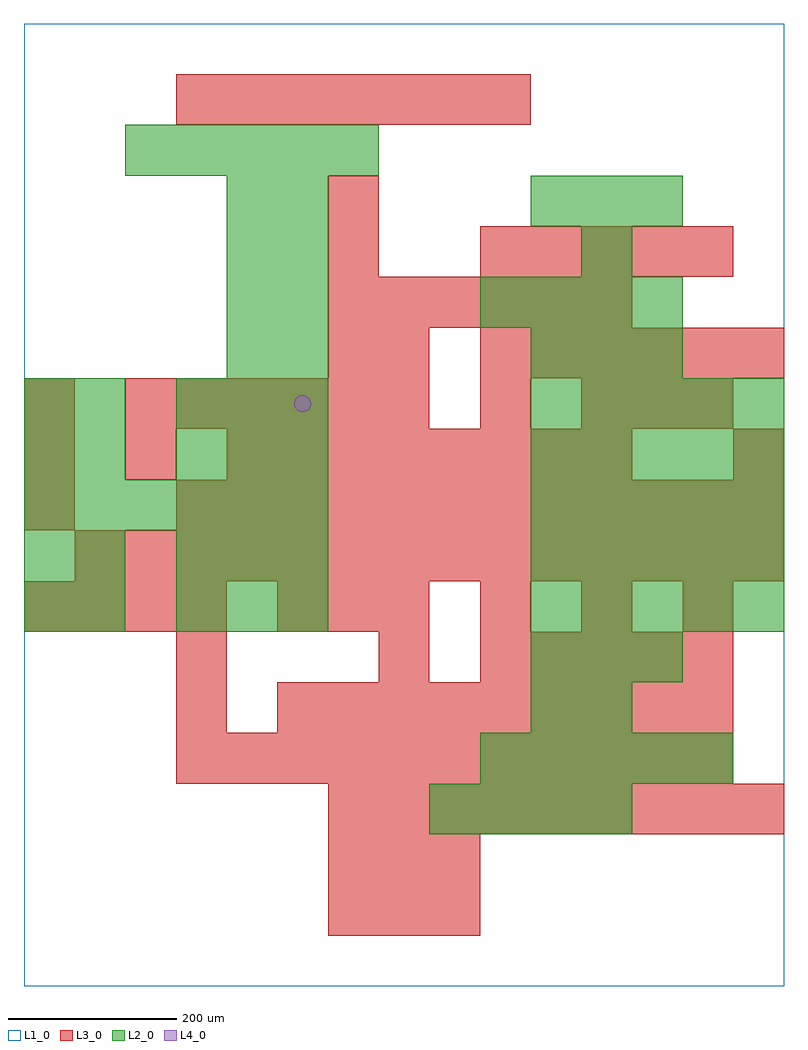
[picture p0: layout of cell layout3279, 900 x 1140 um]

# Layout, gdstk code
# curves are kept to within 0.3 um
import gdstk
lib = gdstk.Library(unit=1e-6, precision=1e-09)
def R(c, l, rs):  # rectangles x0, y0, x1, y1
    for r in rs: c.add(gdstk.rectangle(r[:2], r[2:], *l))
def A(c, l, x, y, w, h, nx, ny, dx, dy):  # array of equal rectangles
    R(c, l, [(x+i*dx, y+j*dy, x+i*dx+w, y+j*dy+h) for i in range(nx) for j in range(ny)])
def P(c, l, *ps):  # polygons
    for p in ps: c.add(gdstk.Polygon(p, *l))
L1_0 = (1, 0)
L2_0 = (2, 0)
L3_0 = (3, 0)
L4_0 = (4, 0)

layout3279 = lib.new_cell('layout3279')
R(layout3279, L1_0, [(0,0,900,1140)])
A(layout3279, L2_0, 480, 180, 60, 60, 4, 1, 60, 0)
A(layout3279, L2_0, 540, 240, 60, 60, 5, 1, 60, 0)
A(layout3279, L2_0, 600, 360, 60, 60, 3, 2, 60, 360)
A(layout3279, L2_0, 180, 420, 60, 60, 3, 2, 60, 60)
A(layout3279, L2_0, 600, 420, 60, 60, 5, 5, 60, 60)
A(layout3279, L2_0, 0, 540, 60, 60, 6, 1, 60, 0)
A(layout3279, L2_0, 180, 600, 60, 60, 3, 2, 60, 60)
A(layout3279, L2_0, 240, 720, 60, 60, 1, 4, 0, 60)
A(layout3279, L2_0, 300, 720, 60, 60, 1, 4, 0, 60)
A(layout3279, L2_0, 540, 780, 60, 60, 4, 1, 60, 0)
A(layout3279, L2_0, 600, 900, 60, 60, 3, 1, 60, 0)
A(layout3279, L2_0, 120, 960, 60, 60, 5, 1, 60, 0)
R(layout3279, L2_0, [(600,300,660,360), (660,300,720,360), (0,420,60,480), (60,420,120,480), (0,480,60,540), (60,480,120,540), (0,600,60,660), (60,600,120,660), (0,660,60,720), (60,660,120,720), (660,840,720,900)])
A(layout3279, L3_0, 360, 60, 60, 60, 3, 2, 60, 60)
A(layout3279, L3_0, 360, 180, 60, 60, 9, 1, 60, 0)
A(layout3279, L3_0, 180, 240, 60, 60, 11, 1, 60, 0)
A(layout3279, L3_0, 300, 300, 60, 60, 9, 1, 60, 0)
A(layout3279, L3_0, 540, 360, 60, 60, 5, 2, 60, 480)
A(layout3279, L3_0, 0, 420, 60, 60, 4, 1, 60, 0)
A(layout3279, L3_0, 300, 420, 60, 60, 3, 1, 60, 0)
A(layout3279, L3_0, 540, 420, 60, 60, 3, 1, 120, 0)
A(layout3279, L3_0, 60, 480, 60, 60, 14, 1, 60, 0)
A(layout3279, L3_0, 180, 540, 60, 60, 12, 1, 60, 0)
A(layout3279, L3_0, 0, 600, 60, 60, 3, 1, 120, 0)
A(layout3279, L3_0, 300, 600, 60, 60, 7, 1, 60, 0)
A(layout3279, L3_0, 120, 660, 60, 60, 6, 1, 60, 0)
A(layout3279, L3_0, 660, 660, 60, 60, 3, 1, 60, 0)
A(layout3279, L3_0, 540, 720, 60, 60, 6, 1, 60, 0)
A(layout3279, L3_0, 360, 780, 60, 60, 6, 1, 60, 0)
A(layout3279, L3_0, 180, 1020, 60, 60, 7, 1, 60, 0)
R(layout3279, L3_0, [(180,300,240,360), (180,360,240,420), (420,360,480,420), (0,540,60,600), (840,600,900,660), (0,660,60,720), (540,660,600,720), (360,720,420,780), (420,720,480,780), (360,840,420,900), (360,900,420,960)])
P(layout3279, L4_0, [(340,690),(339.239,693.827),(337.071,697.071),(333.827,699.239),(330,700),(326.173,699.239),(322.929,697.071),(320.761,693.827),(320,690),(320.761,686.173),(322.929,682.929),(326.173,680.761),(330,680),(333.827,680.761),(337.071,682.929),(339.239,686.173)])

lib.write_gds('layout3279.gds')
